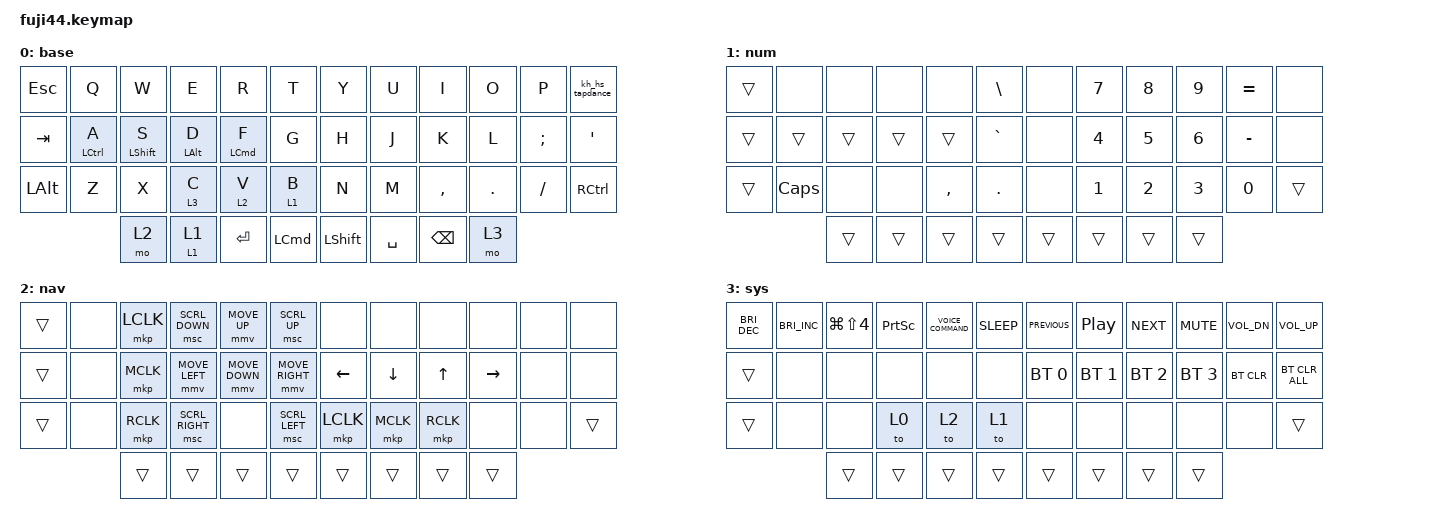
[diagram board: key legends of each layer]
/*
 * Copyright (c) 2020 The ZMK Contributors
 *
 * SPDX-License-Identifier: MIT
 */

#include <behaviors.dtsi>
#include <dt-bindings/zmk/bt.h>
#include <dt-bindings/zmk/keys.h>
#include <dt-bindings/zmk/pointing.h>

#define ZMK_POINTING_DEFAULT_MOVE_VAL 1500
#define ZMK_POINTING_DEFAULT_SCRL_VAL 20

/ {
    combos {
        compatible = "zmk,combos";

        combo_bootloader_left {
            timeout-ms = <50>;
            key-positions = <0 12 24>;
            bindings = <&bootloader>;
        };

        combo_bootloader_right {
            bindings = <&bootloader>;
            key-positions = <11 23 35>;
            timeout-ms = <50>;
        };
    };

    behaviors {
        ss_hs_modmorph: ss_hs_modmorph {
            compatible = "zmk,behavior-mod-morph";
            label = "SS_HS_MODMORPH";
            bindings = <&kp M>, <&kp RIGHT_BRACKET>;

            #binding-cells = <0>;
            mods = <(MOD_LSFT|MOD_RSFT)>;
        };

        kh_hs_tapdance: kh_hs_tapdance {
            compatible = "zmk,behavior-tap-dance";
            label = "KH_HS_TAPDANCE";
            #binding-cells = <0>;
            bindings = <&kp LEFT_BRACKET>, <&kp RIGHT_BRACKET>;

            tapping-term-ms = <400>;
        };

        hrm: hrm {
            compatible = "zmk,behavior-hold-tap";
            #binding-cells = <2>;
            flavor = "tap-preferred";
            tapping-term-ms = <200>;
            quick-tap-ms = <200>;
            require-prior-idle-ms = <125>;
            bindings = <&kp>, <&kp>;
        };

        t_backslash_tapdance: t_backslash_tapdance {
            compatible = "zmk,behavior-tap-dance";
            label = "T_BACKSLASH_TAPDANCE";
            #binding-cells = <0>;
            bindings = <&kp T>, <&kp BACKSLASH>;

            tapping-term-ms = <100>;
        };

        hold_tap_layer: hold_tap_layer {
            compatible = "zmk,behavior-hold-tap";
            label = "HOLD_TAP_LAYER";
            bindings = <&mo>, <&tog>;

            #binding-cells = <2>;
            tapping-term-ms = <250>;
        };
    };

    keymap {
        compatible = "zmk,keymap";

        base {
            bindings = <
&kp ESC       &kp Q                &kp W              &kp E                &kp R                &kp T               &kp Y           &kp U      &kp I          &kp O    &kp P     &kh_hs_tapdance
&kp TAB       &hrm LEFT_CONTROL A  &hrm LEFT_SHIFT S  &hrm LEFT_ALT D      &hrm LEFT_COMMAND F  &kp G               &kp H           &kp J      &kp K          &kp L    &kp SEMI  &kp SINGLE_QUOTE
&kp LEFT_ALT  &kp Z                &kp X              &lt 3 C              &lt 2 V              &lt 1 B             &kp N           &kp M      &kp COMMA      &kp DOT  &kp FSLH  &kp RIGHT_CONTROL
                                   &mo 2              &hold_tap_layer 1 1  &kp ENTER            &kp LEFT_COMMAND    &kp LEFT_SHIFT  &kp SPACE  &kp BACKSPACE  &mo 3
            >;
        };

        num {
            bindings = <
&trans  &none         &none   &none   &none      &kp BACKSLASH    &none   &kp N7        &kp N8        &kp N9        &kp EQUAL     &none
&trans  &trans        &trans  &trans  &trans     &kp GRAVE        &none   &kp NUMBER_4  &kp NUMBER_5  &kp NUMBER_6  &kp MINUS     &none
&trans  &kp CAPSLOCK  &none   &none   &kp COMMA  &kp DOT          &none   &kp NUMBER_1  &kp NUMBER_2  &kp NUMBER_3  &kp NUMBER_0  &trans
                      &trans  &trans  &trans     &trans           &trans  &trans        &trans        &trans
            >;
        };

        nav {
            bindings = <
&trans  &none  &mkp LCLK  &msc SCRL_DOWN   &mmv MOVE_UP    &msc SCRL_UP       &none      &none      &none      &none      &none  &none
&trans  &none  &mkp MCLK  &mmv MOVE_LEFT   &mmv MOVE_DOWN  &mmv MOVE_RIGHT    &kp LEFT   &kp DOWN   &kp UP     &kp RIGHT  &none  &none
&trans  &none  &mkp RCLK  &msc SCRL_RIGHT  &none           &msc SCRL_LEFT     &mkp LCLK  &mkp MCLK  &mkp RCLK  &none      &none  &trans
               &trans     &trans           &trans          &trans             &trans     &trans     &trans     &trans
            >;
        };

        sys {
            bindings = <
&kp C_BRIGHTNESS_DEC  &kp C_BRIGHTNESS_INC  &kp LG(LS(NUMBER_4))  &kp PRINTSCREEN  &kp C_VOICE_COMMAND  &kp C_SLEEP    &kp C_PREVIOUS  &kp C_PLAY_PAUSE  &kp C_NEXT    &kp K_MUTE    &kp C_VOL_DN  &kp C_VOL_UP
&trans                &none                 &none                 &none            &none                &none          &bt BT_SEL 0    &bt BT_SEL 1      &bt BT_SEL 2  &bt BT_SEL 3  &bt BT_CLR    &bt BT_CLR_ALL
&trans                &none                 &none                 &to 0            &to 2                &to 1          &none           &none             &none         &none         &none         &trans
                                            &trans                &trans           &trans               &trans         &trans          &trans            &trans        &trans
            >;
        };
    };
};
